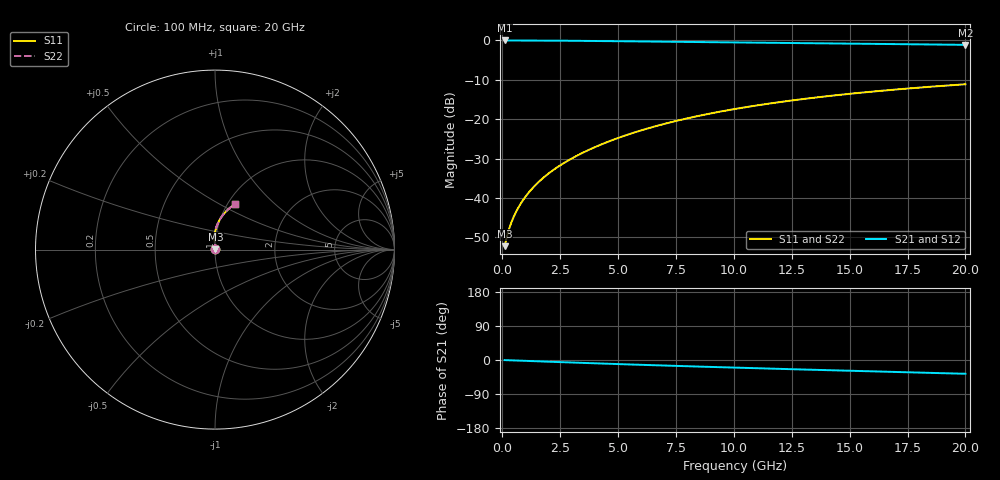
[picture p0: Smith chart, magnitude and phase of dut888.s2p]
! Touchstone file exported from HFSS 2024.1.0
!  File:  C:/UserFiles/LocalFiles/RDL_TSV_Batchsim/temp_RDL_top_888_1779857066.aedt
!  Generated:  12:46:42 PM May 27, 2026
!  Design:  RDL_top
!  Project:  temp_RDL_top_888_1779857066
!  Setup:  Setup1
!  Solution:  Sweep
! Variables:
!  dtsv = 10.80580581um
!  hbump = 3um
!  htsv = 92.83um
!  ldown = 100um
!  lrdl = 534.41um
!  p = 40
!  p1 = 52.28um
!  rhole = 1um
!  t = 450um
!  tdown = 3.915915916um
!  trdl = 3.46um
!  wdown = 15.38538539um
!  wrdl = 29.69um
# GHz S MA R 50.000000
! Terminal data exported
! Port[1] = Box2_T1
! Port[2] = Box2_T2
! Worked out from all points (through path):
!   200 points, 100 MHz to 20 GHz, reference 50 ohm
!   highest |S21| = -0.02 dB at 100 MHz (marker M1); lowest = -1.1 dB at 20 GHz (marker M2)
!   group delay of S21, straight-line fit = 4.97 ps
!   lowest |S11| = -52.2 dB at 100 MHz (marker M3), VSWR 1.00, Z = 50.2 + j0.123 ohm
!   |S11| at or under -10 dB: start of sweep to end of sweep
!   |S22| runs from -52.2 to -11.1 dB; largest |S21 - S12| = 2e-15
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0.1  0.002446 30.0  0.9979 -0.2  0.9979 -0.2  0.002446 30.0
! Gamma 0 0 0 0
! Port Impedance 50 0 50 0
0.2  0.003257 45.7  0.9977 -0.5  0.9977 -0.5  0.003257 45.7
0.3  0.004116 54.2  0.9975 -0.7  0.9975 -0.7  0.004116 54.2
0.4  0.004971 60.0  0.9973 -0.9  0.9973 -0.9  0.00497 60.0
0.5  0.005831 64.3  0.9971 -1.2  0.9971 -1.2  0.00583 64.4
0.8  0.008508 73.1  0.9965 -1.8  0.9965 -1.8  0.008507 73.1
1  0.01037 76.9  0.9961 -2.3  0.9961 -2.3  0.01037 76.9
1.2  0.0123 79.7  0.9957 -2.7  0.9957 -2.7  0.0123 79.7
1.7  0.01731 84.5  0.9942 -3.8  0.9942 -3.8  0.01731 84.5
2.2  0.02262 87.5  0.9924 -4.9  0.9924 -4.9  0.02262 87.5
2.8  0.02938 89.8  0.9896 -6.2  0.9896 -6.2  0.02938 89.8
3.5  0.03781 91.4  0.9859 -7.7  0.9859 -7.7  0.03782 91.4
4.2  0.04682 92.2  0.9816 -9.2  0.9816 -9.2  0.04683 92.2
5  0.05773 92.4  0.9763 -10.8  0.9763 -10.8  0.05775 92.4
5.9  0.07067 91.9  0.9701 -12.6  0.9701 -12.6  0.0707 91.9
6.8  0.08415 90.9  0.9637 -14.3  0.9637 -14.3  0.08418 90.9
8.4  0.1089 88.5  0.9523 -17.2  0.9523 -17.2  0.1089 88.5
10.1  0.1356 85.3  0.9405 -20.2  0.9405 -20.2  0.1356 85.3
11.7  0.1605 82.1  0.9298 -23.0  0.9298 -23.0  0.1605 82.1
13.4  0.1863 78.7  0.9187 -25.8  0.9187 -25.8  0.1864 78.7
16.7  0.2339 72.1  0.898 -31.2  0.898 -31.2  0.2341 72.1
20  0.2775 65.9  0.8779 -36.3  0.8779 -36.3  0.2776 66.0
